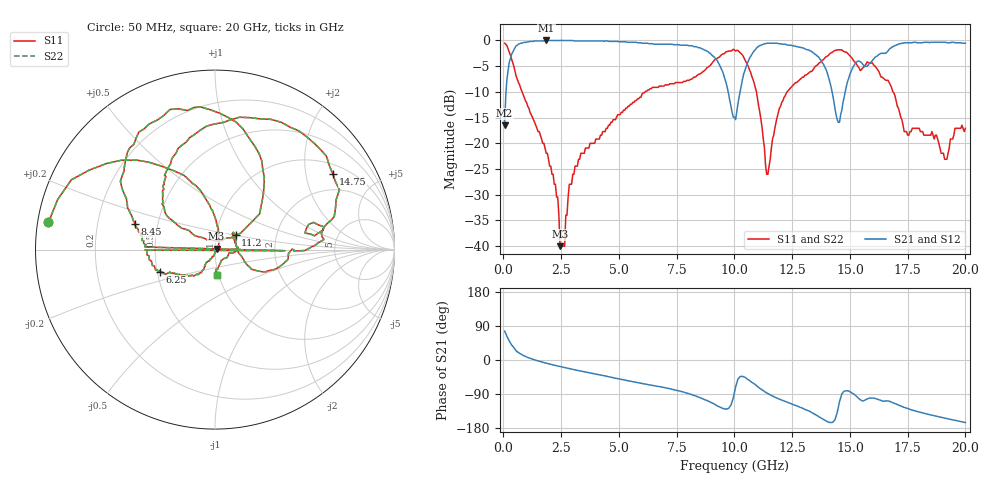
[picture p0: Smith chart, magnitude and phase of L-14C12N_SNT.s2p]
# MHZ S MA R 50
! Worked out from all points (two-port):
!   400 points, 50 MHz to 20 GHz, reference 50 ohm
!   highest |S21| = 0.00 dB at 1.85 GHz (marker M1); lowest = -16.5 dB at 50 MHz (marker M2)
!   |S21| within 3 dB of the highest: 332.1 MHz to 9.06 GHz (8.728 GHz wide, 186 % of centre); 16.19 GHz to end of sweep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
!   lowest |S11| = -40.0 dB at 2.45 GHz (marker M3), VSWR 1.02, Z = 50.8 + j0.558 ohm
!   |S11| at or under -10 dB: 809.2 MHz to 6.131 GHz (5.322 GHz wide, 153 % of centre); 10.95 GHz to 12.28 GHz (1.328 GHz wide, 11.4 % of centre); 16.87 GHz to end of sweep
!   |S22| runs from -40.0 to -0.5 dB; largest |S21 - S12| = 0
!   S11 on the Smith chart (normalised r, x): 50 MHz: 0.03, +0.08; 6.25 GHz: 0.52, -0.14; 8.45 GHz: 0.37, +0.13; 11.2 GHz: 1.24, +0.20; 14.75 GHz: 1.33, +2.86; 20 GHz: 0.98, -0.28
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50  0.94 170.7  0.15 76.4  0.15 76.4  0.94 170.7
400  0.61 127.1  0.77 36.3  0.77 36.3  0.61 127.1
1850  0.08 75.3  1 -8.4  1 -8.4  0.08 75.3
2350  0.03 44.7  1 -15.7  1 -15.7  0.03 44.7
2450  0.01 33.3  1 -17.3  1 -17.3  0.01 33.3
3400  0.08 -121.8  0.99 -29.8  0.99 -29.8  0.08 -121.8
6250  0.33 -158.3  0.94 -64.9  0.94 -64.9  0.33 -158.3
6700  0.35 -165.1  0.92 -69.7  0.92 -69.7  0.35 -165.1
7450  0.39 -179.6  0.91 -79.3  0.91 -79.3  0.39 -179.6
7500  0.39 -0.9  0.91 -80.1  0.91 -80.1  0.39 -0.9
7550  0.39 177.9  0.91 -81.0  0.91 -81.0  0.39 177.9
8450  0.47 162.6  0.85 -97.9  0.85 -97.9  0.47 162.6
10050  0.79 101.2  0.17 -71.5  0.17 -71.5  0.79 101.2
11200  0.14 34.6  0.91 -79.1  0.91 -79.1  0.14 34.6
11450  0.05 93.2  0.94 -88.7  0.94 -88.7  0.05 93.2
12050  0.25 146.9  0.92 -105.8  0.92 -105.8  0.25 146.9
13350  0.5 124.3  0.78 -138.9  0.78 -138.9  0.5 124.3
14500  0.81 50.7  0.16 -124.4  0.16 -124.4  0.81 50.7
14750  0.78 32.6  0.28 -82.1  0.28 -82.1  0.78 32.6
16700  0.39 -11.5  0.82 -108.9  0.82 -108.9  0.39 -11.5
19100  0.07 -45.1  0.96 -153.3  0.96 -153.3  0.07 -45.1
20000  0.14 -86.3  0.94 -165.1  0.94 -165.1  0.14 -86.3
